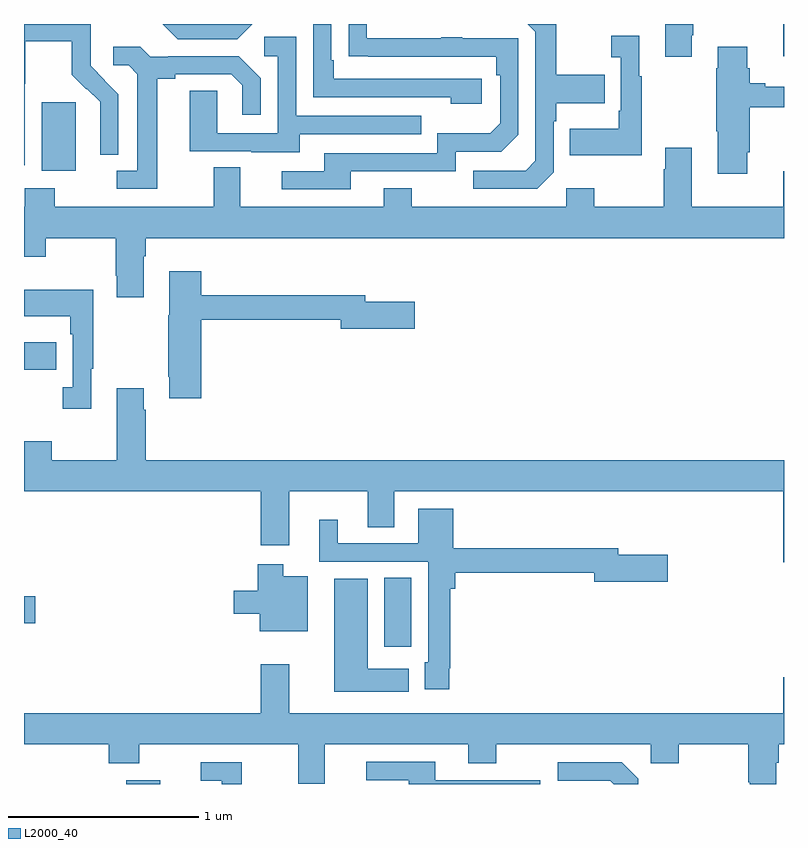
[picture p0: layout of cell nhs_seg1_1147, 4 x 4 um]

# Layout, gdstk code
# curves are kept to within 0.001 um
import gdstk
lib = gdstk.Library(unit=1e-6, precision=1e-09)
def R(c, l, rs):  # rectangles x0, y0, x1, y1
    for r in rs: c.add(gdstk.rectangle(r[:2], r[2:], *l))
def P(c, l, *ps):  # polygons
    for p in ps: c.add(gdstk.Polygon(p, *l))
L2000_40 = (2000, 40)

nhs_seg1_1147 = lib.new_cell('nhs_seg1_1147')
R(nhs_seg1_1147, L2000_40, [(173.537,542.199,173.716,542.218), (174.896,542.922,175.039,543.284), (173,543.046,173.059,543.188), (173,544.378,173.171,544.525), (173.093,545.426,173.272,545.787), (176.996,546.03,177,546.199)])
P(nhs_seg1_1147, L2000_40, [(175.408,545.91),(174.631,545.91),(174.631,546.007),(174.618,546.007),(174.618,546.199),(174.522,546.199),(174.522,545.814),(175.247,545.814),(175.247,545.78),(175.408,545.78)],
  [(176.515,546.139),(176.523,546.139),(176.523,546.199),(176.375,546.199),(176.375,546.027),(176.515,546.027)],
  [(174.202,546.199),(173.729,546.199),(173.808,546.12),(174.123,546.12)],
  [(173.004,545.884),(173.007,545.884),(173.007,546.108),(173.251,546.108),(173.251,545.933),(173.328,545.856),(173.331,545.859),(173.402,545.789),(173.402,545.666),(173.4,545.666),(173.4,545.512),(173.496,545.512),(173.496,545.83),(173.35,545.978),(173.35,546.075),(173.352,546.075),(173.352,546.199),(173,546.199),(173,545.455),(173.004,545.455)],
  [(175.788,545.418),(175.788,545.687),(175.801,545.687),(175.801,545.783),(176.057,545.783),(176.057,545.931),(175.801,545.931),(175.801,546.199),(175.652,546.199),(175.692,546.159),(175.692,545.478),(175.641,545.427),(175.365,545.427),(175.365,545.331),(175.701,545.331)],
  [(174.721,545.424),(175.272,545.424),(175.272,545.526),(175.512,545.526),(175.602,545.616),(175.602,546.123),(175.307,546.123),(175.307,546.128),(175.195,546.128),(175.195,546.123),(174.805,546.123),(174.805,546.199),(174.709,546.199),(174.709,546.028),(175.486,546.027),(175.486,545.93),(175.506,545.93),(175.506,545.676),(175.453,545.623),(175.176,545.623),(175.176,545.52),(174.581,545.52),(174.581,545.424),(174.357,545.424),(174.357,545.328),(174.721,545.328)],
  [(176.251,545.923),(176.239,545.923),(176.239,546.136),(176.091,546.136),(176.091,546.023),(176.142,546.023),(176.142,545.743),(176.13,545.743),(176.13,545.647),(175.873,545.647),(175.873,545.507),(176.251,545.507)],
  [(174.451,545.619),(175.091,545.619),(175.091,545.715),(174.432,545.715),(174.432,546.131),(174.264,546.131),(174.264,546.03),(174.336,546.03),(174.336,545.625),(174.018,545.625),(174.018,545.849),(173.873,545.849),(173.873,545.529),(174.197,545.529),(174.197,545.525),(174.451,545.525)],
  [(176.806,545.524),(176.819,545.524),(176.819,545.76),(177,545.76),(177,545.869),(176.902,545.869),(176.902,545.888),(176.819,545.888),(176.819,545.966),(176.806,545.966),(176.806,546.079),(176.651,546.079),(176.651,545.966),(176.644,545.966),(176.644,545.635),(176.651,545.635),(176.651,545.412),(176.806,545.412)],
  [(173.701,545.912),(173.797,545.912),(173.797,545.934),(174.092,545.934),(174.149,545.877),(174.149,545.721),(174.246,545.721),(174.246,545.914),(174.13,546.03),(173.758,546.03),(173.758,546.027),(173.664,546.027),(173.612,546.079),(173.469,546.079),(173.469,545.982),(173.55,545.982),(173.597,545.935),(173.597,545.427),(173.487,545.427),(173.487,545.331),(173.701,545.331)],
  [(173.629,544.976),(173.642,544.976),(173.642,545.072),(177,545.072),(177,545.425),(176.996,545.425),(176.996,545.236),(176.515,545.236),(176.515,545.548),(176.375,545.548),(176.375,545.435),(176.368,545.435),(176.368,545.236),(176.001,545.236),(176.001,545.335),(175.854,545.335),(175.854,545.236),(175.041,545.236),(175.041,545.335),(174.893,545.335),(174.893,545.236),(174.139,545.236),(174.139,545.444),(173.999,545.444),(173.999,545.236),(173.163,545.236),(173.163,545.335),(173.003,545.335),(173.003,545.236),(173,545.236),(173,544.973),(173.115,544.973),(173.115,545.072),(173.482,545.072),(173.482,544.873),(173.489,544.873),(173.489,544.761),(173.629,544.761)],
  [(173.933,544.642),(174.668,544.642),(174.668,544.595),(175.057,544.595),(175.057,544.737),(174.796,544.737),(174.796,544.771),(173.933,544.771),(173.933,544.897),(173.765,544.897),(173.765,544.665),(173.758,544.665),(173.758,544.342),(173.765,544.342),(173.765,544.23),(173.933,544.23)],
  [(173.353,544.385),(173.365,544.385),(173.365,544.801),(173,544.801),(173,544.661),(173.244,544.661),(173.244,544.565),(173.256,544.565),(173.256,544.286),(173.205,544.286),(173.205,544.173),(173.353,544.173)],
  [(177,543.904),(173.642,543.904),(173.642,544.169),(173.629,544.169),(173.629,544.282),(173.489,544.282),(173.489,543.904),(173.145,543.904),(173.145,544.003),(173,544.003),(173,543.74),(174.245,543.74),(174.245,543.456),(174.397,543.456),(174.397,543.74),(174.809,543.74),(174.809,543.55),(174.949,543.55),(174.949,543.74),(176.996,543.74),(176.996,543.366),(177,543.366)],
  [(175.237,542.809),(175.244,542.809),(175.244,543.227),(175.271,543.227),(175.271,543.31),(176,543.31),(176,543.263),(176.389,543.263),(176.389,543.405),(176.128,543.405),(176.128,543.439),(175.258,543.439),(175.258,543.649),(175.076,543.649),(175.076,543.465),(174.652,543.465),(174.652,543.589),(174.554,543.589),(174.554,543.369),(175.128,543.369),(175.128,542.841),(175.109,542.841),(175.109,542.697),(175.237,542.697)],
  [(174.493,543.292),(174.364,543.292),(174.364,543.355),(174.23,543.355),(174.23,543.217),(174.105,543.217),(174.105,543.095),(174.242,543.095),(174.242,543.002),(174.493,543.002)],
  [(175.024,542.806),(174.808,542.806),(174.808,543.28),(174.632,543.28),(174.632,542.684),(175.024,542.684)],
  [(176.959,542.312),(176.972,542.312),(176.972,542.408),(177,542.408),(177,542.761),(176.996,542.761),(176.996,542.572),(174.397,542.572),(174.397,542.83),(174.245,542.83),(174.245,542.572),(173,542.572),(173,542.408),(173.447,542.408),(173.447,542.309),(173.607,542.309),(173.607,542.408),(174.443,542.408),(174.443,542.2),(174.583,542.2),(174.583,542.408),(175.337,542.408),(175.337,542.309),(175.485,542.309),(175.485,542.408),(176.298,542.408),(176.298,542.309),(176.445,542.309),(176.445,542.408),(176.812,542.408),(176.812,542.209),(176.819,542.209),(176.819,542.199),(176.959,542.199)],
  [(175.716,542.22),(175.165,542.22),(175.165,542.316),(174.801,542.316),(174.801,542.22),(175.025,542.22),(175.025,542.199),(175.716,542.199)],
  [(174.145,542.313),(173.931,542.313),(173.931,542.217),(174.041,542.217),(174.041,542.199),(174.145,542.199)],
  [(176.232,542.226),(176.145,542.313),(175.809,542.313),(175.809,542.217),(176.085,542.217),(176.103,542.199),(176.232,542.199)])

lib.write_gds('nhs_seg1_1147.gds')
